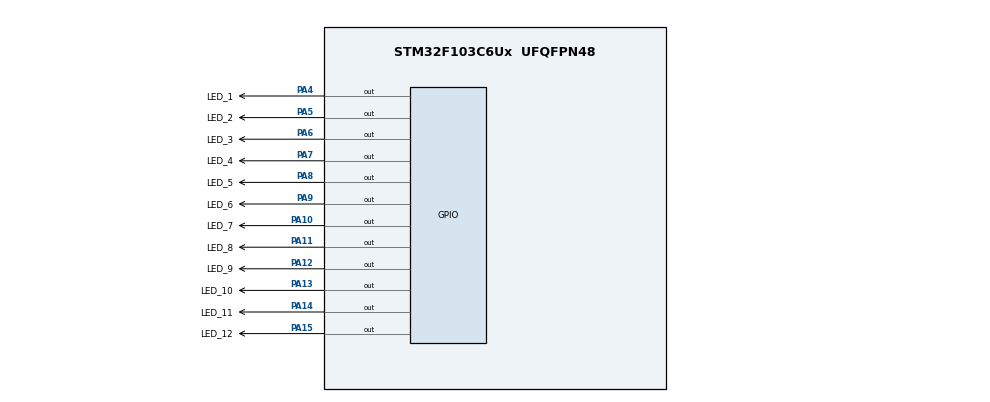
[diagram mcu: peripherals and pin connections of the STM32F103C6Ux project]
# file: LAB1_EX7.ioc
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Mcu.Family=STM32F1
Mcu.Name=STM32F103C6Ux
Mcu.Package=UFQFPN48
NVIC.PriorityGroup=NVIC_PRIORITYGROUP_4
PA10.GPIO_Label=LED_7
PA10.Signal=GPIO_Output
PA11.GPIO_Label=LED_8
PA11.Signal=GPIO_Output
PA12.GPIO_Label=LED_9
PA12.Signal=GPIO_Output
PA13.GPIO_Label=LED_10
PA13.Signal=GPIO_Output
PA14.GPIO_Label=LED_11
PA14.Signal=GPIO_Output
PA15.GPIO_Label=LED_12
PA15.Signal=GPIO_Output
PA4.GPIO_Label=LED_1
PA4.Signal=GPIO_Output
PA5.GPIO_Label=LED_2
PA5.Signal=GPIO_Output
PA6.GPIO_Label=LED_3
PA6.Signal=GPIO_Output
PA7.GPIO_Label=LED_4
PA7.Signal=GPIO_Output
PA8.GPIO_Label=LED_5
PA8.Signal=GPIO_Output
PA9.GPIO_Label=LED_6
PA9.Signal=GPIO_Output
ProjectManager.HeapSize=0x200
ProjectManager.StackSize=0x400
ProjectManager.TargetToolchain=STM32CubeIDE
RCC.APB1Freq_Value=8000000
RCC.APB2Freq_Value=8000000
VP_SYS_VS_ND.Mode=No_Debug
board=custom

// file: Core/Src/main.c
/* USER CODE BEGIN Header */
/**
  ******************************************************************************
  * @file           : main.c
  * @brief          : Main program body
  ******************************************************************************
  * @attention
  *
  * <h2><center>&copy; Copyright (c) 2023 STMicroelectronics.
  * All rights reserved.</center></h2>
  *
  * This software component is licensed by ST under BSD 3-Clause license,
  * the "License"; You may not use this file except in compliance with the
  * License. You may obtain a copy of the License at:
  *                        opensource.org/licenses/BSD-3-Clause
  *
  ******************************************************************************
  */
/* USER CODE END Header */
#include "main.h"

void SystemClock_Config(void);
static void MX_GPIO_Init(void);

int main(void)
{

  /* MCU Configuration--------------------------------------------------------*/

  /* Reset of all peripherals, Initializes the Flash interface and the Systick. */
  HAL_Init();

  /* Configure the system clock */
  SystemClock_Config();

  /* Initialize all configured peripherals */
  MX_GPIO_Init();
  /* USER CODE BEGIN 2 */

  	  void clearAllClock(){
  		  HAL_GPIO_WritePin(LED_1_GPIO_Port, LED_1_Pin, RESET);
		  HAL_GPIO_WritePin(LED_2_GPIO_Port, LED_2_Pin, RESET);
		  HAL_GPIO_WritePin(LED_3_GPIO_Port, LED_3_Pin, RESET);
		  HAL_GPIO_WritePin(LED_4_GPIO_Port, LED_4_Pin, RESET);
		  HAL_GPIO_WritePin(LED_5_GPIO_Port, LED_5_Pin, RESET);
		  HAL_GPIO_WritePin(LED_6_GPIO_Port, LED_6_Pin, RESET);
		  HAL_GPIO_WritePin(LED_7_GPIO_Port, LED_7_Pin, RESET);
		  HAL_GPIO_WritePin(LED_8_GPIO_Port, LED_8_Pin, RESET);
		  HAL_GPIO_WritePin(LED_9_GPIO_Port, LED_9_Pin, RESET);
		  HAL_GPIO_WritePin(LED_10_GPIO_Port, LED_10_Pin, RESET);
		  HAL_GPIO_WritePin(LED_11_GPIO_Port, LED_11_Pin, RESET);
		  HAL_GPIO_WritePin(LED_12_GPIO_Port, LED_12_Pin, RESET);
  	  }

  	void setNumberOnClock(int num){
		switch(num){
		case 0:
		  HAL_GPIO_WritePin(LED_1_GPIO_Port, LED_1_Pin, SET);
		  break;

		case 1:
		  HAL_GPIO_WritePin(LED_2_GPIO_Port, LED_2_Pin, SET);
		  break;

		case 2:
		  HAL_GPIO_WritePin(LED_3_GPIO_Port, LED_3_Pin, SET);
		  break;

		case 3:
		  HAL_GPIO_WritePin(LED_4_GPIO_Port, LED_4_Pin, SET);
		  break;

		case 4:
		  HAL_GPIO_WritePin(LED_5_GPIO_Port, LED_5_Pin, SET);
		  break;

		case 5:
		  HAL_GPIO_WritePin(LED_6_GPIO_Port, LED_6_Pin, SET);
		  break;

		case 6:
		  HAL_GPIO_WritePin(LED_7_GPIO_Port, LED_7_Pin, SET);
		  break;

		case 7:
		  HAL_GPIO_WritePin(LED_8_GPIO_Port, LED_8_Pin, SET);
		  break;

		case 8:
		  HAL_GPIO_WritePin(LED_9_GPIO_Port, LED_9_Pin, SET);
		  break;

		case 9:
		  HAL_GPIO_WritePin(LED_10_GPIO_Port, LED_10_Pin, SET);
		  break;

		case 10:
		  HAL_GPIO_WritePin(LED_11_GPIO_Port, LED_11_Pin, SET);
		  break;

		default:
		  HAL_GPIO_WritePin(LED_12_GPIO_Port, LED_12_Pin, SET);
		  }
	  }

//  	  void clearNumberOnClock(int num){
//  		switch(num){
//  		case 0:
//		  HAL_GPIO_WritePin(LED_1_GPIO_Port, LED_1_Pin, RESET);
//		  break;
//
//  		case 1:
//		  HAL_GPIO_WritePin(LED_2_GPIO_Port, LED_2_Pin, RESET);
//		  break;
//
//  		case 2:
//		  HAL_GPIO_WritePin(LED_3_GPIO_Port, LED_3_Pin, RESET);
//		  break;
//
//  		case 3:
//		  HAL_GPIO_WritePin(LED_4_GPIO_Port, LED_4_Pin, RESET);
//		  break;
//
//  		case 4:
//		  HAL_GPIO_WritePin(LED_5_GPIO_Port, LED_5_Pin, RESET);
//		  break;
//
//  		case 5:
//		  HAL_GPIO_WritePin(LED_6_GPIO_Port, LED_6_Pin, RESET);
//		  break;
//
//  		case 6:
//		  HAL_GPIO_WritePin(LED_7_GPIO_Port, LED_7_Pin, RESET);
//		  break;
//
//  		case 7:
//		  HAL_GPIO_WritePin(LED_8_GPIO_Port, LED_8_Pin, RESET);
//		  break;
//
//  		case 8:
//		  HAL_GPIO_WritePin(LED_9_GPIO_Port, LED_9_Pin, RESET);
//		  break;
//
//  		case 9:
//		  HAL_GPIO_WritePin(LED_10_GPIO_Port, LED_10_Pin, RESET);
//		  break;
//
//  		case 10:
//		  HAL_GPIO_WritePin(LED_11_GPIO_Port, LED_11_Pin, RESET);
//		  break;
//
//  		default:
//		  HAL_GPIO_WritePin(LED_12_GPIO_Port, LED_12_Pin, RESET);
//  		  }
//  	  }

  /* USER CODE END 2 */

  /* Infinite loop */
  /* USER CODE BEGIN WHILE */

  	  int sec = 0;
  	  int min = 0;
  	  int hour = 0;
  	  int counter = 5;

  while (1)
  {

	  if(sec >= 60){
		  sec = 0;
		  min++;
		  if(min >= 60){
			  min = 0;
			  hour++;
			  if(hour >= 12){
				  hour = 0;
			  }
		  }
	  }

	  clearAllClock();

	  setNumberOnClock(sec / 5);
	  setNumberOnClock(min / 5);
	  setNumberOnClock(hour);

	  if(counter <= 0){
		  sec++;
		  counter = 5;
	  }
	  counter--;
	  HAL_Delay(10);

    /* USER CODE END WHILE */

  }
}

void SystemClock_Config(void)
{
  RCC_OscInitTypeDef RCC_OscInitStruct = {0};
  RCC_ClkInitTypeDef RCC_ClkInitStruct = {0};

  /** Initializes the RCC Oscillators according to the specified parameters
  * in the RCC_OscInitTypeDef structure.
  */
  RCC_OscInitStruct.OscillatorType = RCC_OSCILLATORTYPE_HSI;
  RCC_OscInitStruct.HSIState = RCC_HSI_ON;
  RCC_OscInitStruct.HSICalibrationValue = RCC_HSICALIBRATION_DEFAULT;
  RCC_OscInitStruct.PLL.PLLState = RCC_PLL_NONE;
  if (HAL_RCC_OscConfig(&RCC_OscInitStruct) != HAL_OK)
  {
    Error_Handler();
  }
  /** Initializes the CPU, AHB and APB buses clocks
  */
  RCC_ClkInitStruct.ClockType = RCC_CLOCKTYPE_HCLK|RCC_CLOCKTYPE_SYSCLK
                              |RCC_CLOCKTYPE_PCLK1|RCC_CLOCKTYPE_PCLK2;
  RCC_ClkInitStruct.SYSCLKSource = RCC_SYSCLKSOURCE_HSI;
  RCC_ClkInitStruct.AHBCLKDivider = RCC_SYSCLK_DIV1;
  RCC_ClkInitStruct.APB1CLKDivider = RCC_HCLK_DIV1;
  RCC_ClkInitStruct.APB2CLKDivider = RCC_HCLK_DIV1;

  if (HAL_RCC_ClockConfig(&RCC_ClkInitStruct, FLASH_LATENCY_0) != HAL_OK)
  {
    Error_Handler();
  }
}

static void MX_GPIO_Init(void)
{
  GPIO_InitTypeDef GPIO_InitStruct = {0};

  /* GPIO Ports Clock Enable */
  __HAL_RCC_GPIOA_CLK_ENABLE();

  /*Configure GPIO pin Output Level */
  HAL_GPIO_WritePin(GPIOA, LED_1_Pin|LED_2_Pin|LED_3_Pin|LED_4_Pin
                          |LED_5_Pin|LED_6_Pin|LED_7_Pin|LED_8_Pin
                          |LED_9_Pin|LED_10_Pin|LED_11_Pin|LED_12_Pin, GPIO_PIN_RESET);

  /*Configure GPIO pins : LED_1_Pin LED_2_Pin LED_3_Pin LED_4_Pin
                           LED_5_Pin LED_6_Pin LED_7_Pin LED_8_Pin
                           LED_9_Pin LED_10_Pin LED_11_Pin LED_12_Pin */
  GPIO_InitStruct.Pin = LED_1_Pin|LED_2_Pin|LED_3_Pin|LED_4_Pin
                          |LED_5_Pin|LED_6_Pin|LED_7_Pin|LED_8_Pin
                          |LED_9_Pin|LED_10_Pin|LED_11_Pin|LED_12_Pin;
  GPIO_InitStruct.Mode = GPIO_MODE_OUTPUT_PP;
  GPIO_InitStruct.Pull = GPIO_NOPULL;
  GPIO_InitStruct.Speed = GPIO_SPEED_FREQ_LOW;
  HAL_GPIO_Init(GPIOA, &GPIO_InitStruct);

}

void Error_Handler(void)
{
  __disable_irq();
  while (1)
  {
  }
}

/************************ (C) COPYRIGHT STMicroelectronics *****END OF FILE****/
